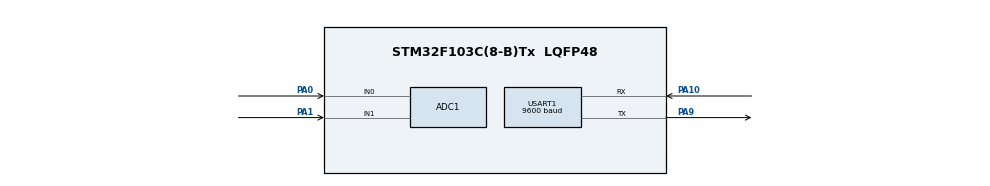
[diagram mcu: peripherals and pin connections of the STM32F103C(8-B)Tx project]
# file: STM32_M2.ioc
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ADC1.Channel-1\#ChannelRegularConversion=ADC_CHANNEL_0
ADC1.ContinuousConvMode=DISABLE
ADC1.DataAlign=ADC_DATAALIGN_RIGHT
ADC1.DiscontinuousConvMode=DISABLE
ADC1.NbrOfConversion=1
ADC1.NbrOfConversionFlag=1
ADC1.Rank-1\#ChannelRegularConversion=1
ADC1.SamplingTime-1\#ChannelRegularConversion=ADC_SAMPLETIME_1CYCLE_5
ADC1.master=1
Mcu.Family=STM32F1
Mcu.Name=STM32F103C(8-B)Tx
Mcu.Package=LQFP48
NVIC.PriorityGroup=NVIC_PRIORITYGROUP_4
PA0-WKUP.Signal=ADCx_IN0
PA1.Signal=ADCx_IN1
PA10.Mode=Asynchronous
PA10.Signal=USART1_RX
PA9.Mode=Asynchronous
PA9.Signal=USART1_TX
ProjectManager.HeapSize=0x200
ProjectManager.StackSize=0x400
ProjectManager.TargetToolchain=STM32CubeIDE
RCC.APB1Freq_Value=8000000
RCC.APB2Freq_Value=8000000
SH.ADCx_IN0.0=ADC1_IN0,IN0
SH.ADCx_IN1.0=ADC1_IN1,IN1
USART1.BaudRate=9600
USART1.VirtualMode=VM_ASYNC
VP_SYS_VS_ND.Mode=No_Debug
board=custom

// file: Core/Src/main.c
/* USER CODE BEGIN Header */
/**
  ******************************************************************************
  * @file           : main.c
  * @brief          : Main program body
  ******************************************************************************
  * @attention
  *
  * Copyright (c) 2026 STMicroelectronics.
  * All rights reserved.
  *
  * This software is licensed under terms that can be found in the LICENSE file
  * in the root directory of this software component.
  * If no LICENSE file comes with this software, it is provided AS-IS.
  *
  ******************************************************************************
  */
/* USER CODE END Header */
#include "main.h"
#include <stdio.h>

ADC_HandleTypeDef hadc1;

UART_HandleTypeDef huart1;

void SystemClock_Config(void);
static void MX_GPIO_Init(void);
static void MX_ADC1_Init(void);
static void MX_USART1_UART_Init(void);

int main(void)
{

  /* MCU Configuration--------------------------------------------------------*/

  /* Reset of all peripherals, Initializes the Flash interface and the Systick. */
  HAL_Init();

  /* Configure the system clock */
  SystemClock_Config();

  /* Initialize all configured peripherals */
  MX_GPIO_Init();
  MX_ADC1_Init();
  MX_USART1_UART_Init();
  /* USER CODE BEGIN 2 */
  // variables

  // set adc chanel to read
  ADC_ChannelConfTypeDef sConfig = {0};
  uint32_t engineRaw;
  uint32_t throttleRaw;

  uint16_t engineTemp;
  uint8_t throttlePercent;

  char message[100];
  int msg;

  /* USER CODE END 2 */

  /* Infinite loop */
  while (1)
  {

    /* USER CODE BEGIN 3 */
	  // configure adc chanel
	  sConfig.Channel = ADC_CHANNEL_0; // set to channel 0
	  sConfig.Rank = ADC_REGULAR_RANK_1; // 1 rank to select each channel individually
	  sConfig.SamplingTime = ADC_SAMPLETIME_1CYCLE_5;
	  HAL_ADC_ConfigChannel(&hadc1, &sConfig); // apply config

	  // poll for engine raw data
	  HAL_ADC_Start(&hadc1); // starts adc1
	  HAL_ADC_PollForConversion(&hadc1, HAL_MAX_DELAY); // polling
	  engineRaw = HAL_ADC_GetValue(&hadc1); // reads and stores raw value
	  HAL_ADC_Stop(&hadc1); // stops adc1 to start polling for throttle

	  // reconfigure adc channel
	  sConfig.Channel = ADC_CHANNEL_1; // set to channel 1
	  HAL_ADC_ConfigChannel(&hadc1, &sConfig); // apply config

	  // polling for throttle raw date
	  HAL_ADC_Start(&hadc1);
	  HAL_ADC_PollForConversion(&hadc1, HAL_MAX_DELAY);
	  throttleRaw = HAL_ADC_GetValue(&hadc1);
	  HAL_ADC_Stop(&hadc1);

	  //mapping values
	  engineTemp = (engineRaw * 150) / 4095;
	  throttlePercent = (throttleRaw * 100) / 4095;

	  // store to buffer message and store string lenght to msg
	  msg = snprintf(message, sizeof(message), "Engine Temp = %u | Throttle = %u%%\r\n" , engineTemp, throttlePercent);

	  // communicate with uart
	  HAL_UART_Transmit(&huart1, (uint8_t *)message, msg, HAL_MAX_DELAY);
	  HAL_Delay(500);
  }
  /* USER CODE END 3 */
}

void SystemClock_Config(void)
{
  RCC_OscInitTypeDef RCC_OscInitStruct = {0};
  RCC_ClkInitTypeDef RCC_ClkInitStruct = {0};
  RCC_PeriphCLKInitTypeDef PeriphClkInit = {0};

  /** Initializes the RCC Oscillators according to the specified parameters
  * in the RCC_OscInitTypeDef structure.
  */
  RCC_OscInitStruct.OscillatorType = RCC_OSCILLATORTYPE_HSI;
  RCC_OscInitStruct.HSIState = RCC_HSI_ON;
  RCC_OscInitStruct.HSICalibrationValue = RCC_HSICALIBRATION_DEFAULT;
  RCC_OscInitStruct.PLL.PLLState = RCC_PLL_NONE;
  if (HAL_RCC_OscConfig(&RCC_OscInitStruct) != HAL_OK)
  {
    Error_Handler();
  }

  /** Initializes the CPU, AHB and APB buses clocks
  */
  RCC_ClkInitStruct.ClockType = RCC_CLOCKTYPE_HCLK|RCC_CLOCKTYPE_SYSCLK
                              |RCC_CLOCKTYPE_PCLK1|RCC_CLOCKTYPE_PCLK2;
  RCC_ClkInitStruct.SYSCLKSource = RCC_SYSCLKSOURCE_HSI;
  RCC_ClkInitStruct.AHBCLKDivider = RCC_SYSCLK_DIV1;
  RCC_ClkInitStruct.APB1CLKDivider = RCC_HCLK_DIV1;
  RCC_ClkInitStruct.APB2CLKDivider = RCC_HCLK_DIV1;

  if (HAL_RCC_ClockConfig(&RCC_ClkInitStruct, FLASH_LATENCY_0) != HAL_OK)
  {
    Error_Handler();
  }
  PeriphClkInit.PeriphClockSelection = RCC_PERIPHCLK_ADC;
  PeriphClkInit.AdcClockSelection = RCC_ADCPCLK2_DIV2;
  if (HAL_RCCEx_PeriphCLKConfig(&PeriphClkInit) != HAL_OK)
  {
    Error_Handler();
  }
}

static void MX_ADC1_Init(void)
{

  ADC_ChannelConfTypeDef sConfig = {0};

  /** Common config
  */
  hadc1.Instance = ADC1;
  hadc1.Init.ScanConvMode = ADC_SCAN_DISABLE;
  hadc1.Init.ContinuousConvMode = DISABLE;
  hadc1.Init.DiscontinuousConvMode = DISABLE;
  hadc1.Init.ExternalTrigConv = ADC_SOFTWARE_START;
  hadc1.Init.DataAlign = ADC_DATAALIGN_RIGHT;
  hadc1.Init.NbrOfConversion = 1;
  if (HAL_ADC_Init(&hadc1) != HAL_OK)
  {
    Error_Handler();
  }

  /** Configure Regular Channel
  */
  sConfig.Channel = ADC_CHANNEL_0;
  sConfig.Rank = ADC_REGULAR_RANK_1;
  sConfig.SamplingTime = ADC_SAMPLETIME_1CYCLE_5;
  if (HAL_ADC_ConfigChannel(&hadc1, &sConfig) != HAL_OK)
  {
    Error_Handler();
  }

}

static void MX_USART1_UART_Init(void)
{

  huart1.Instance = USART1;
  huart1.Init.BaudRate = 9600;
  huart1.Init.WordLength = UART_WORDLENGTH_8B;
  huart1.Init.StopBits = UART_STOPBITS_1;
  huart1.Init.Parity = UART_PARITY_NONE;
  huart1.Init.Mode = UART_MODE_TX_RX;
  huart1.Init.HwFlowCtl = UART_HWCONTROL_NONE;
  huart1.Init.OverSampling = UART_OVERSAMPLING_16;
  if (HAL_UART_Init(&huart1) != HAL_OK)
  {
    Error_Handler();
  }

}

static void MX_GPIO_Init(void)
{

  /* GPIO Ports Clock Enable */
  __HAL_RCC_GPIOA_CLK_ENABLE();

}

void Error_Handler(void)
{
  __disable_irq();
  while (1)
  {
  }
}
